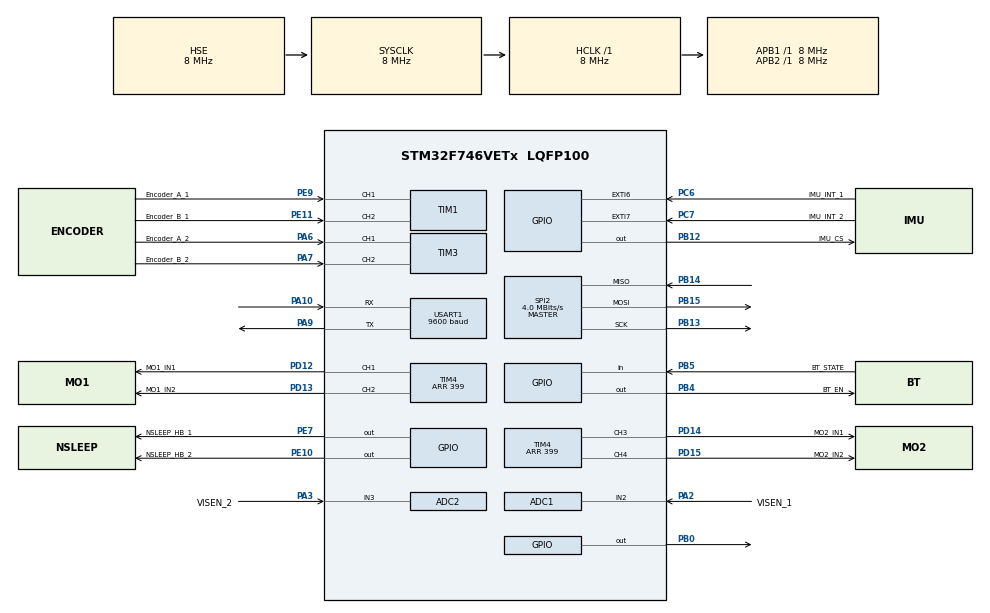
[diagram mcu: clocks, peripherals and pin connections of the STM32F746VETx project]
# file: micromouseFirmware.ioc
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ADC1.Channel-1\#ChannelRegularConversion=ADC_CHANNEL_2
ADC1.NbrOfConversionFlag=1
ADC1.Rank-1\#ChannelRegularConversion=1
ADC1.SamplingTime-1\#ChannelRegularConversion=ADC_SAMPLETIME_3CYCLES
ADC1.master=1
ADC2.Channel-0\#ChannelRegularConversion=ADC_CHANNEL_3
ADC2.NbrOfConversionFlag=1
ADC2.Rank-0\#ChannelRegularConversion=1
ADC2.SamplingTime-0\#ChannelRegularConversion=ADC_SAMPLETIME_3CYCLES
CORTEX_M7.default_mode_Activation=1
Mcu.Family=STM32F7
Mcu.Name=STM32F746VETx
Mcu.Package=LQFP100
NVIC.PriorityGroup=NVIC_PRIORITYGROUP_4
PA10.Mode=Asynchronous
PA10.Signal=USART1_RX
PA13.Mode=Serial_Wire
PA13.Signal=SYS_JTMS-SWDIO
PA14.Mode=Serial_Wire
PA14.Signal=SYS_JTCK-SWCLK
PA2.GPIO_Label=VISEN_1
PA2.Signal=ADCx_IN2
PA3.GPIO_Label=VISEN_2
PA3.Signal=ADCx_IN3
PA6.GPIO_Label=Encoder_A_2
PA6.Signal=S_TIM3_CH1
PA7.GPIO_Label=Encoder_B_2
PA7.Signal=S_TIM3_CH2
PA9.Mode=Asynchronous
PA9.Signal=USART1_TX
PB0.Signal=GPIO_Output
PB12.GPIO_Label=IMU_CS
PB12.GPIO_Speed=GPIO_SPEED_FREQ_VERY_HIGH
PB12.PinState=GPIO_PIN_SET
PB12.Signal=GPIO_Output
PB13.Mode=Full_Duplex_Master
PB13.Signal=SPI2_SCK
PB14.Mode=Full_Duplex_Master
PB14.Signal=SPI2_MISO
PB15.Mode=Full_Duplex_Master
PB15.Signal=SPI2_MOSI
PB4.GPIO_Label=BT_EN
PB4.PinState=GPIO_PIN_SET
PB4.Signal=GPIO_Output
PB5.GPIO_Label=BT_STATE
PB5.Signal=GPIO_Input
PC14/OSC32_IN.Mode=LSE-External-Oscillator
PC14/OSC32_IN.Signal=RCC_OSC32_IN
PC15/OSC32_OUT.Mode=LSE-External-Oscillator
PC15/OSC32_OUT.Signal=RCC_OSC32_OUT
PC6.GPIO_Label=IMU_INT_1
PC6.Signal=GPXTI6
PC7.GPIO_Label=IMU_INT_2
PC7.Signal=GPXTI7
PD12.GPIO_Label=MO1_IN1
PD12.Signal=S_TIM4_CH1
PD13.GPIO_Label=MO1_IN2
PD13.Signal=S_TIM4_CH2
PD14.GPIO_Label=MO2_IN1
PD14.Signal=S_TIM4_CH3
PD15.GPIO_Label=MO2_IN2
PD15.Signal=S_TIM4_CH4
PE10.GPIO_Label=NSLEEP_HB_2
PE10.Signal=GPIO_Output
PE11.GPIO_Label=Encoder_B_1
PE11.Signal=S_TIM1_CH2
PE7.GPIO_Label=NSLEEP_HB_1
PE7.Signal=GPIO_Output
PE9.GPIO_Label=Encoder_A_1
PE9.Signal=S_TIM1_CH1
PH0/OSC_IN.Mode=HSE-External-Oscillator
PH0/OSC_IN.Signal=RCC_OSC_IN
PH1/OSC_OUT.Mode=HSE-External-Oscillator
PH1/OSC_OUT.Signal=RCC_OSC_OUT
ProjectManager.HeapSize=0x200
ProjectManager.StackSize=0x400
ProjectManager.TargetToolchain=STM32CubeIDE
RCC.AHBFreq_Value=8000000
RCC.APB1Freq_Value=8000000
RCC.APB1TimFreq_Value=8000000
RCC.APB2Freq_Value=8000000
RCC.APB2TimFreq_Value=8000000
RCC.CSICalibrationValue=32
RCC.CortexFreq_Value=8000000
RCC.DATA_CACHE_ENABLE=1
RCC.HCLKFreq_Value=8000000
RCC.HSE_VALUE=8000000
RCC.HSI_VALUE=16000000
RCC.INSTRUCTION_CACHE_ENABLE=1
RCC.LSE_Drive_CapabilityArg=RCC_LSEDRIVE_LOW
RCC.MSIAutoCalibration=ENABLED
RCC.MSICalibrationValue=0
RCC.PLL1_VCI_Range=RCC_PLL1VCIRANGE_3
RCC.PLL1_VCO_SEL=RCC_PLL1VCOWIDE
RCC.PLL2FRACN=0
RCC.PLL2_VCI_Range=RCC_PLL2VCIRANGE_3
RCC.PLL2_VCO_SEL=RCC_PLL2VCOWIDE
RCC.PLL3FRACN=0
RCC.PLL3_VCI_Range=RCC_PLL3VCIRANGE_3
RCC.PLL3_VCO_SEL=RCC_PLL3VCOWIDE
RCC.PLLFRACN=0
RCC.PLLSourceVirtual=RCC_PLLSOURCE_HSE
RCC.PREFETCH_ENABLE=0
RCC.ProductRev=revV
RCC.SYSCLKFreq_VALUE=8000000
RCC.SYSCLKSource=RCC_SYSCLKSOURCE_HSE
RCC.USBFreq_Value=48000000
RCC.VCOOutputFreq_Value=96000000
SH.ADCx_IN2.0=ADC1_IN2,IN2
SH.ADCx_IN3.0=ADC2_IN3,IN3
SH.S_TIM1_CH1.0=TIM1_CH1,Encoder_Interface
SH.S_TIM1_CH2.0=TIM1_CH2,Encoder_Interface
SH.S_TIM3_CH1.0=TIM3_CH1,Encoder_Interface
SH.S_TIM3_CH2.0=TIM3_CH2,Encoder_Interface
SH.S_TIM4_CH1.0=TIM4_CH1,PWM Generation1 CH1
SH.S_TIM4_CH2.0=TIM4_CH2,PWM Generation2 CH2
SH.S_TIM4_CH3.0=TIM4_CH3,PWM Generation3 CH3
SH.S_TIM4_CH4.0=TIM4_CH4,PWM Generation4 CH4
SPI2.CLKPhase=SPI_PHASE_2EDGE
SPI2.CLKPolarity=SPI_POLARITY_HIGH
SPI2.CalculateBaudRate=4.0 MBits/s
SPI2.DataSize=SPI_DATASIZE_8BIT
SPI2.Direction=SPI_DIRECTION_2LINES
SPI2.Mode=SPI_MODE_MASTER
SPI2.VirtualType=VM_MASTER
TIM1.EncoderMode=TIM_ENCODERMODE_TI12
TIM1.IC1Filter=8
TIM1.IC2Filter=8
TIM3.EncoderMode=TIM_ENCODERMODE_TI12
TIM3.IC1Filter=8
TIM3.IC2Filter=8
TIM4.AutoReloadPreload=TIM_AUTORELOAD_PRELOAD_ENABLE
TIM4.Channel-PWM\ Generation1\ CH1=TIM_CHANNEL_1
TIM4.Channel-PWM\ Generation2\ CH2=TIM_CHANNEL_2
TIM4.Channel-PWM\ Generation3\ CH3=TIM_CHANNEL_3
TIM4.Channel-PWM\ Generation4\ CH4=TIM_CHANNEL_4
TIM4.Period=399
USART1.BaudRate=9600
USART1.VirtualMode-Asynchronous=VM_ASYNC
VP_TIM4_VS_ClockSourceINT.Mode=Internal
board=custom

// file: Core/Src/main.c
/* USER CODE BEGIN Header */
/**
  ******************************************************************************
  * @file           : main.c
  * @brief          : Main program body
  ******************************************************************************
  * @attention
  *
  * Copyright (c) 2026 STMicroelectronics.
  * All rights reserved.
  *
  * This software is licensed under terms that can be found in the LICENSE file
  * in the root directory of this software component.
  * If no LICENSE file comes with this software, it is provided AS-IS.
  *
  ******************************************************************************
  */
/* USER CODE END Header */
#include "main.h"

/* USER CODE BEGIN Includes */
#include <stdio.h>
#include <stdlib.h>
#include <string.h>
#include <math.h>
#include <stdbool.h>
#include "ir.h"
#include "motor.h"
#include "imu.h"
#include "pid.h"
#include "kalman.h"
/* USER CODE END Includes */

/* USER CODE BEGIN PD */
/* Motor pins, PWM, encoders and their directions now live in motor.h. */
#define MOTOR_MAX_DUTY_INT          71U   /* same limit as MOTOR_MAX_DUTY_PERCENT */
#define MOTOR_MAX_DUTY_TENTHS      710U
#define MOTOR_MAX_RUN_MS         10000U
#define TELEMETRY_DEFAULT_MS       250U
#define SENSOR_MISSING          (-32768)

#define FLAG_IMU           (1U << 0)
#define FLAG_MAG           (1U << 1)
#define FLAG_IR            (1U << 2)
#define FLAG_TOF_1         (1U << 3)
#define FLAG_TOF_2         (1U << 4)
#define FLAG_TOF_3         (1U << 5)
#define FLAG_BT_CONNECTED  (1U << 6)
#define FLAG_MOTORS_ACTIVE (1U << 7)

#define LIS2MDL_ADDR       0x1EU
#define VL53_DEFAULT_ADDR  0x29U

/* ---- Control loop (motor + imu + kalman + pid) ---------------------------- */
#define CONTROL_LOOP_HZ          1000U    /* 1 ms control step                 */
#define CONTROL_DT_MAX_S         0.05f    /* cap dt after a slow sensor read   */

/* Stall protection reads the motor current (VISEN) on ADC1/ADC2. Keep it OFF
 * until the VREF+ bridge (U1 pin 20 -> 21) is soldered: before that the ADC
 * readings are garbage and could stop the motors for no reason. */
#define MOTOR_STALL_PROTECTION   0

/* Starting gains: GUESSES. Tune them over Bluetooth with the GAINS command. */
#define FWD_KP        0.020f    /* % duty per (mm/s) of speed error          */
#define FWD_KI        0.200f    /* % duty per (mm/s * s)                      */
#define FWD_KD        0.000f
#define FWD_KF        0.070f    /* % duty per mm/s asked for (feedforward)   */
#define FWD_I_MAX     30.0f     /* anti-windup limit, % duty                  */
#define ROT_KP        0.800f    /* % duty difference per degree of error     */
#define ROT_KI        0.000f
#define ROT_KD        0.030f    /* % duty per deg/s (damping)                */
#define ROT_FF        0.050f    /* % duty per deg/s asked for (feedforward)  */
#define ROT_OUT_MAX   40.0f     /* max % duty difference between wheels      */
#define ROT_I_MAX     20.0f

#define TURN_RATE_DEGS        180.0f  /* how fast TURN rotates the target     */
#define TURN_DONE_DEG         2.0f    /* "arrived" when within this many deg  */
#define TURN_DONE_RATE_DEGS   10.0f   /* ...and turning slower than this      */
#define TURN_SETTLE_MS        50U     /* ...for this long                     */
#define TURN_DEFAULT_MS       3000U   /* safety timeout for TURN              */
#define SPEED_LIMIT_MMS       1000
#define RATE_LIMIT_DEGS       720
/* USER CODE END PD */

ADC_HandleTypeDef hadc1;
ADC_HandleTypeDef hadc2;

SPI_HandleTypeDef hspi2;

TIM_HandleTypeDef htim1;
TIM_HandleTypeDef htim3;
TIM_HandleTypeDef htim4;

UART_HandleTypeDef huart1;

/* USER CODE BEGIN PV */
static I2C_HandleTypeDef hi2c1;
static ADC_HandleTypeDef hadc3;
static int32_t imu_values[6] = {0};
static int32_t mag_values[3] = {0};
static uint16_t ir_values[4] = {0};
static uint16_t tof_values[3] = {0};
static uint8_t sensor_flags = 0U;
static volatile int16_t commanded_left_tenths = 0;
static volatile int16_t commanded_right_tenths = 0;
static volatile uint32_t motor_stop_tick = 0U;
static volatile uint32_t emergency_stop_generation = 0U;
static volatile uint8_t motor_timeout_event_pending = 0U;
static volatile uint8_t emergency_stop_ack_pending = 0U;
static uint32_t telemetry_period_ms = TELEMETRY_DEFAULT_MS;
static uint8_t uart_rx_byte = 0U;
static volatile uint8_t uart_rx_head = 0U;
static volatile uint8_t uart_rx_tail = 0U;
static uint8_t uart_rx_ring[128] = {0};
static uint8_t uart_stop_candidate = 1U;
static uint8_t uart_stop_index = 0U;
static volatile uint32_t uart_stop_flush_generation = 0U;
static uint8_t uart_tx_byte = 0U;
static volatile uint16_t uart_tx_head = 0U;
static volatile uint16_t uart_tx_tail = 0U;
static volatile uint8_t uart_tx_busy = 0U;
static uint8_t uart_tx_ring[512] = {0};

/* Motion control state */
enum { CTRL_OFF = 0U, CTRL_OPEN_LOOP, CTRL_VELOCITY, CTRL_TURN };
static volatile uint8_t control_mode = CTRL_OFF;
static volatile uint8_t motors_enabled = 0U;
static volatile uint8_t turn_done_event_pending = 0U;
#if MOTOR_STALL_PROTECTION
static volatile uint8_t stall_event_pending = 0U;
#endif
static PID_Controller_t pid_forward;
static PID_Controller_t pid_rotation;
static YawKalman_t yaw_kf;
static float rot_feedforward = ROT_FF;
static float target_speed_mms = 0.0f;
static float target_rate_degs = 0.0f;
static float target_heading_deg = 0.0f;
static float turn_final_deg = 0.0f;
static uint32_t turn_settle_ms = 0U;
static uint32_t control_last_cycles = 0U;
/* USER CODE END PV */

void SystemClock_Config(void);
static void MPU_Config(void);
static void MX_GPIO_Init(void);
static void MX_ADC1_Init(void);
static void MX_TIM1_Init(void);
static void MX_TIM3_Init(void);
static void MX_TIM4_Init(void);
static void MX_ADC2_Init(void);
static void MX_SPI2_Init(void);
static void MX_USART1_UART_Init(void);
/* USER CODE BEGIN PFP */
static void Motors_Stop(void);
static uint8_t Motors_SetSignedTenths(int32_t left_tenths, int32_t right_tenths,
                                      uint32_t command_generation);
static void Control_Init(void);
static void Control_Tick(void);
static void SensorHardware_Init(void);
static void Sensors_Update(void);
static void Protocol_HandleLine(char *line, uint32_t command_generation);
static void Protocol_SendTelemetry(void);
static uint8_t UART_PopByte(uint8_t *value);
/* USER CODE END PFP */

/* USER CODE BEGIN 0 */
/* ---------------------------------------------------------------------------
 * Motor power on/off. Motors_Stop() is also called from interrupts (SysTick
 * timeout and the UART "STOP" detector), so it only touches registers/pins.
 * ------------------------------------------------------------------------- */
static void Motors_Stop(void)
{
  Motor_SleepAll();                       /* brake both, then nSLEEP low */
  HAL_GPIO_WritePin(GPIOB, GPIO_PIN_0, GPIO_PIN_RESET);
  control_mode = CTRL_OFF;
  motors_enabled = 0U;
  commanded_left_tenths = 0;
  commanded_right_tenths = 0;
  motor_stop_tick = 0U;
}

static int32_t ClampMotorPercent(int32_t percent)
{
  if (percent > (int32_t)MOTOR_MAX_DUTY_INT) return MOTOR_MAX_DUTY_INT;
  if (percent < -(int32_t)MOTOR_MAX_DUTY_INT) return -(int32_t)MOTOR_MAX_DUTY_INT;
  return percent;
}

static int32_t ClampMotorTenths(int32_t percent_tenths)
{
  if (percent_tenths > (int32_t)MOTOR_MAX_DUTY_TENTHS) return MOTOR_MAX_DUTY_TENTHS;
  if (percent_tenths < -(int32_t)MOTOR_MAX_DUTY_TENTHS) return -(int32_t)MOTOR_MAX_DUTY_TENTHS;
  return percent_tenths;
}

static float ClampFloat(float value, float limit)
{
  if (value > limit) return limit;
  if (value < -limit) return -limit;
  return value;
}

/* Wake both H-bridges and switch to <mode>, unless a STOP arrived after the
 * command was received (stale generation). Returns 1 if the motors are live.
 * On success interrupts are left DISABLED so the caller can set the first
 * duty atomically; the caller must call Motors_EndStart() afterwards. */
static uint8_t Motors_BeginStart(uint32_t command_generation, uint8_t mode,
                                 uint32_t *interrupt_state)
{
  if (emergency_stop_generation != command_generation) return 0U;

  Motors_Stop();
  Motor_WakeAll();
  HAL_Delay(2);                           /* MP6550 wake-up time */

  *interrupt_state = __get_PRIMASK();
  __disable_irq();
  if (emergency_stop_generation != command_generation)
  {
    if (*interrupt_state == 0U) __enable_irq();
    Motors_Stop();
    return 0U;
  }
  control_mode = mode;
  motors_enabled = 1U;
  return 1U;
}

static void Motors_EndStart(uint32_t interrupt_state)
{
  if (interrupt_state == 0U) __enable_irq();
}

/* Open-loop drive (the old "M" / "M10" commands): fixed duty per wheel. */
static uint8_t Motors_SetSignedTenths(int32_t left_tenths, int32_t right_tenths,
                                      uint32_t command_generation)
{
  uint32_t interrupt_state = 0U;
  left_tenths = ClampMotorTenths(left_tenths);
  right_tenths = ClampMotorTenths(right_tenths);

  if (left_tenths == 0 && right_tenths == 0)
  {
    if (emergency_stop_generation != command_generation) return 0U;
    Motors_Stop();
    return 1U;
  }

  if (Motors_BeginStart(command_generation, CTRL_OPEN_LOOP, &interrupt_state) == 0U) return 0U;
  /* motor.c applies the mirror-image inversion of motor 2 itself. */
  Motor_SetDuty(MOTOR_LEFT, (float)left_tenths / 10.0f);
  Motor_SetDuty(MOTOR_RIGHT, (float)right_tenths / 10.0f);
  commanded_left_tenths = (int16_t)left_tenths;
  commanded_right_tenths = (int16_t)right_tenths;
  Motors_EndStart(interrupt_state);
  return 1U;
}

/* Closed-loop drive: forward speed (mm/s) + turn rate (deg/s, + = left/CCW). */
static uint8_t Motion_StartVelocity(float speed_mms, float rate_degs,
                                    uint32_t command_generation)
{
  uint32_t interrupt_state = 0U;
  PID_Reset(&pid_forward);
  PID_Reset(&pid_rotation);
  target_speed_mms = speed_mms;
  target_rate_degs = rate_degs;
  target_heading_deg = Kalman_GetHeading_deg(&yaw_kf);
  if (Motors_BeginStart(command_generation, CTRL_VELOCITY, &interrupt_state) == 0U) return 0U;
  Motors_EndStart(interrupt_state);
  return 1U;
}

/* Turn on the spot by <angle_deg> (+ = left/CCW) using the fused heading. */
static uint8_t Motion_StartTurn(float angle_deg, uint32_t command_generation)
{
  uint32_t interrupt_state = 0U;
  PID_Reset(&pid_forward);
  PID_Reset(&pid_rotation);
  target_speed_mms = 0.0f;
  target_rate_degs = 0.0f;
  target_heading_deg = Kalman_GetHeading_deg(&yaw_kf);
  turn_final_deg = target_heading_deg + angle_deg;
  turn_settle_ms = 0U;
  if (Motors_BeginStart(command_generation, CTRL_TURN, &interrupt_state) == 0U) return 0U;
  Motors_EndStart(interrupt_state);
  return 1U;
}

/* ---------------------------------------------------------------------------
 * 1 kHz control step: odometry -> IMU -> Kalman heading -> PID -> motors.
 * Called on every pass of the main loop; it runs only when >= 1 ms passed.
 * ------------------------------------------------------------------------- */
static void Control_Init(void)
{
  /* Cycle counter for an exact dt (ir.c also enables it; harmless twice). */
  CoreDebug->DEMCR |= CoreDebug_DEMCR_TRCENA_Msk;
  DWT->LAR = 0xC5ACCE55U;
  DWT->CTRL |= DWT_CTRL_CYCCNTENA_Msk;
  control_last_cycles = DWT->CYCCNT;

  /* Forward speed loop: output = % duty (both wheels). Kf = % duty per mm/s. */
  PID_Init(&pid_forward, FWD_KP, FWD_KI, FWD_KD, FWD_KF,
           -MOTOR_MAX_DUTY_PERCENT, MOTOR_MAX_DUTY_PERCENT, FWD_I_MAX);
  /* Heading loop: output = % duty difference between the wheels. */
  PID_Init(&pid_rotation, ROT_KP, ROT_KI, ROT_KD, 0.0f,
           -ROT_OUT_MAX, ROT_OUT_MAX, ROT_I_MAX);
}

static void Control_Tick(void)
{
  uint32_t now = DWT->CYCCNT;
  uint32_t elapsed = now - control_last_cycles;
  uint32_t period = SystemCoreClock / CONTROL_LOOP_HZ;
  if (elapsed < period) return;
  control_last_cycles = now;

  float dt = (float)elapsed / (float)SystemCoreClock;
  if (dt > CONTROL_DT_MAX_S) dt = CONTROL_DT_MAX_S;  /* after a slow sensor read */

  /* 1. Sensors */
  Motor_UpdateOdometry(dt);
  IMU_Update(dt);
  float enc_rate = Motor_GetAngularVelocity_degs();
  float gyro_rate = IMU_IsPresent() ? IMU_GetData()->gyro_z_raw_degs : enc_rate;
  const Motor_State_t *left = Motor_GetState(MOTOR_LEFT);
  const Motor_State_t *right = Motor_GetState(MOTOR_RIGHT);
  bool stationary = (motors_enabled == 0U) &&
                    fabsf(left->velocity_mms) < 1.0f &&
                    fabsf(right->velocity_mms) < 1.0f;

  /* 2. Heading estimate: gyro + encoders (Kalman also learns the gyro bias). */
  Kalman_Update(&yaw_kf, gyro_rate, enc_rate, stationary, dt);

#if MOTOR_STALL_PROTECTION
  if (motors_enabled != 0U && Motor_CheckStall())
  {
    emergency_stop_generation++;
    Motors_Stop();
    stall_event_pending = 1U;
    return;
  }
#endif

  /* 3. Closed-loop motion */
  uint8_t mode = control_mode;
  if (mode != CTRL_VELOCITY && mode != CTRL_TURN) return;

  float heading = Kalman_GetHeading_deg(&yaw_kf);
  if (mode == CTRL_TURN)
  {
    /* Move the target heading towards the final angle at TURN_RATE_DEGS,
     * so the mouse turns smoothly instead of jumping. */
    float remaining = turn_final_deg - target_heading_deg;
    float step = TURN_RATE_DEGS * dt;
    if (fabsf(remaining) <= step)
    {
      target_heading_deg = turn_final_deg;
      target_rate_degs = 0.0f;
    }
    else
    {
      target_rate_degs = (remaining > 0.0f) ? TURN_RATE_DEGS : -TURN_RATE_DEGS;
      target_heading_deg += target_rate_degs * dt;
    }

    if (target_rate_degs == 0.0f &&
        fabsf(turn_final_deg - heading) < TURN_DONE_DEG &&
        fabsf(Kalman_GetAngularVelocity_degs(&yaw_kf)) < TURN_DONE_RATE_DEGS)
    {
      turn_settle_ms += (uint32_t)(dt * 1000.0f + 0.5f);
      if (turn_settle_ms >= TURN_SETTLE_MS)
      {
        Motors_Stop();
        turn_done_event_pending = 1U;
        return;
      }
    }
    else
    {
      turn_settle_ms = 0U;
    }
  }
  else
  {
    target_heading_deg += target_rate_degs * dt;
  }

  float forward = PID_Compute(&pid_forward, target_speed_mms,
                              Motor_GetLinearVelocity_mms(), dt);
  float turn = PID_Compute(&pid_rotation, target_heading_deg, heading, dt) +
               rot_feedforward * target_rate_degs;

  /* Turning left (CCW, +) means the right wheel goes faster. */
  float left_duty = ClampFloat(forward - turn, MOTOR_MAX_DUTY_PERCENT);
  float right_duty = ClampFloat(forward + turn, MOTOR_MAX_DUTY_PERCENT);

  /* Apply only if no STOP/timeout happened since this step started. */
  uint32_t interrupt_state = __get_PRIMASK();
  __disable_irq();
  if (control_mode == mode && motors_enabled != 0U)
  {
    Motor_SetDuty(MOTOR_LEFT, left_duty);
    Motor_SetDuty(MOTOR_RIGHT, right_duty);
    commanded_left_tenths = (int16_t)(left_duty * 10.0f);
    commanded_right_tenths = (int16_t)(right_duty * 10.0f);
  }
  if (interrupt_state == 0U) __enable_irq();
}

/* Format a float with one decimal without needing printf float support. */
static void FormatTenths(char *out, size_t size, float value)
{
  long tenths = lroundf(value * 10.0f);
  const char *sign = (tenths < 0) ? "-" : "";
  if (tenths < 0) tenths = -tenths;
  snprintf(out, size, "%s%ld.%ld", sign, tenths / 10L, tenths % 10L);
}

static long ToMilli(float value)
{
  return lroundf(value * 1000.0f);
}

static HAL_StatusTypeDef I2C_Write8(uint8_t address, uint16_t reg, uint8_t value)
{
  return HAL_I2C_Mem_Write(&hi2c1, (uint16_t)(address << 1), reg,
                           I2C_MEMADD_SIZE_16BIT, &value, 1U, 20U);
}

static HAL_StatusTypeDef I2C_Read(uint8_t address, uint16_t reg, uint8_t *data, uint16_t length)
{
  return HAL_I2C_Mem_Read(&hi2c1, (uint16_t)(address << 1), reg,
                          I2C_MEMADD_SIZE_16BIT, data, length, 20U);
}

static const uint8_t vl53_default_configuration[] = {
  /* 0x2E/0x2F are 1 because this PCB pulls I2C/GPIO up to AVDD (3.3 V). */
  0x00,0x01,0x01,0x01,0x02,0x00,0x02,0x08,0x00,0x08,0x10,0x01,0x01,0x00,0x00,0x00,
  0x00,0xff,0x00,0x0f,0x00,0x00,0x00,0x00,0x00,0x20,0x0b,0x00,0x00,0x02,0x0a,0x21,
  0x00,0x00,0x05,0x00,0x00,0x00,0x00,0xc8,0x00,0x00,0x38,0xff,0x01,0x00,0x08,0x00,
  0x00,0x01,0xcc,0x0f,0x01,0xf1,0x0d,0x01,0x68,0x00,0x80,0x08,0xb8,0x00,0x00,0x00,
  0x00,0x0f,0x89,0x00,0x00,0x00,0x00,0x00,0x00,0x00,0x01,0x0f,0x0d,0x0e,0x0e,0x00,
  0x00,0x02,0xc7,0xff,0x9b,0x00,0x00,0x00,0x01,0x00,0x00
};

static uint8_t VL53_InitOne(GPIO_TypeDef *port, uint16_t pin, uint8_t address)
{
  uint8_t boot = 0U;
  HAL_GPIO_WritePin(port, pin, GPIO_PIN_SET);
  HAL_Delay(5);
  for (uint32_t start = HAL_GetTick(); HAL_GetTick() - start < 100U; )
  {
    if (I2C_Read(VL53_DEFAULT_ADDR, 0x00E5U, &boot, 1U) == HAL_OK && boot != 0U) break;
  }
  if (boot == 0U || I2C_Write8(VL53_DEFAULT_ADDR, 0x0001U, address) != HAL_OK) return 0U;
  for (uint16_t i = 0U; i < sizeof(vl53_default_configuration); i++)
  {
    if (I2C_Write8(address, (uint16_t)(0x002DU + i), vl53_default_configuration[i]) != HAL_OK) return 0U;
  }
  return (I2C_Write8(address, 0x0087U, 0x40U) == HAL_OK) ? 1U : 0U;
}

static void SensorHardware_Init(void)
{
  GPIO_InitTypeDef gpio = {0};
  ADC_ChannelConfTypeDef adc_channel = {0};

  __HAL_RCC_GPIOB_CLK_ENABLE();
  __HAL_RCC_GPIOC_CLK_ENABLE();
  __HAL_RCC_GPIOE_CLK_ENABLE();
  __HAL_RCC_I2C1_CLK_ENABLE();
  __HAL_RCC_ADC3_CLK_ENABLE();

  gpio.Pin = GPIO_PIN_8 | GPIO_PIN_9;
  gpio.Mode = GPIO_MODE_AF_OD;
  gpio.Pull = GPIO_PULLUP;
  gpio.Speed = GPIO_SPEED_FREQ_VERY_HIGH;
  gpio.Alternate = GPIO_AF4_I2C1;
  HAL_GPIO_Init(GPIOB, &gpio);

  hi2c1.Instance = I2C1;
  /* 100 kHz with the present 8 MHz I2C1 kernel clock. */
  hi2c1.Init.Timing = 0x30300909U;
  hi2c1.Init.OwnAddress1 = 0U;
  hi2c1.Init.AddressingMode = I2C_ADDRESSINGMODE_7BIT;
  hi2c1.Init.DualAddressMode = I2C_DUALADDRESS_DISABLE;
  hi2c1.Init.OwnAddress2 = 0U;
  hi2c1.Init.GeneralCallMode = I2C_GENERALCALL_DISABLE;
  hi2c1.Init.NoStretchMode = I2C_NOSTRETCH_DISABLE;
  if (HAL_I2C_Init(&hi2c1) != HAL_OK) Error_Handler();

  gpio.Pin = GPIO_PIN_0 | GPIO_PIN_1 | GPIO_PIN_2 | GPIO_PIN_3;
  gpio.Mode = GPIO_MODE_ANALOG;
  gpio.Pull = GPIO_NOPULL;
  HAL_GPIO_Init(GPIOC, &gpio);

  hadc3.Instance = ADC3;
  hadc3.Init.ClockPrescaler = ADC_CLOCK_SYNC_PCLK_DIV2;
  hadc3.Init.Resolution = ADC_RESOLUTION_12B;
  hadc3.Init.ScanConvMode = ADC_SCAN_DISABLE;
  hadc3.Init.ContinuousConvMode = DISABLE;
  hadc3.Init.DiscontinuousConvMode = DISABLE;
  hadc3.Init.ExternalTrigConvEdge = ADC_EXTERNALTRIGCONVEDGE_NONE;
  hadc3.Init.ExternalTrigConv = ADC_SOFTWARE_START;
  hadc3.Init.DataAlign = ADC_DATAALIGN_RIGHT;
  hadc3.Init.NbrOfConversion = 1;
  hadc3.Init.DMAContinuousRequests = DISABLE;
  hadc3.Init.EOCSelection = ADC_EOC_SINGLE_CONV;
  if (HAL_ADC_Init(&hadc3) != HAL_OK) Error_Handler();
  adc_channel.Channel = ADC_CHANNEL_10;
  adc_channel.Rank = ADC_REGULAR_RANK_1;
  adc_channel.SamplingTime = ADC_SAMPLETIME_56CYCLES;
  HAL_ADC_ConfigChannel(&hadc3, &adc_channel);

  gpio.Pin = GPIO_PIN_2 | GPIO_PIN_3 | GPIO_PIN_4 | GPIO_PIN_5 |
             GPIO_PIN_13 | GPIO_PIN_14 | GPIO_PIN_15;
  gpio.Mode = GPIO_MODE_OUTPUT_PP;
  gpio.Pull = GPIO_NOPULL;
  gpio.Speed = GPIO_SPEED_FREQ_LOW;
  HAL_GPIO_Init(GPIOE, &gpio);
  HAL_GPIO_WritePin(GPIOE, gpio.Pin, GPIO_PIN_RESET);

  /* IR wall sensors: emitters PE2..PE5, receivers PC0..PC3 on ADC3 (ir.c). */
  IR_Init(&hadc3);

  /* LSM6DSO IMU on SPI2 (imu.c): 1.66 kHz, +/-2000 dps, +/-8 g. */
  if (IMU_Init()) sensor_flags |= FLAG_IMU;

  /* LIS2MDL breakout: absence is valid and is reported as not detected. */
  uint8_t who = 0U;
  if (HAL_I2C_Mem_Read(&hi2c1, LIS2MDL_ADDR << 1, 0x4FU, I2C_MEMADD_SIZE_8BIT, &who, 1U, 20U) == HAL_OK && who == 0x40U)
  {
    uint8_t config = 0x00U;
    HAL_I2C_Mem_Write(&hi2c1, LIS2MDL_ADDR << 1, 0x60U, I2C_MEMADD_SIZE_8BIT, &config, 1U, 20U);
    sensor_flags |= FLAG_MAG;
  }

  if (VL53_InitOne(GPIOE, GPIO_PIN_13, 0x2AU)) sensor_flags |= FLAG_TOF_1;
  if (VL53_InitOne(GPIOE, GPIO_PIN_14, 0x2BU)) sensor_flags |= FLAG_TOF_2;
  if (VL53_InitOne(GPIOE, GPIO_PIN_15, 0x2CU)) sensor_flags |= FLAG_TOF_3;
  sensor_flags |= FLAG_IR;
}

static void Sensors_Update(void)
{
  if ((sensor_flags & FLAG_IMU) != 0U)
  {
    /* The control loop reads the IMU every 1 ms; just copy the latest sample. */
    const IMU_Data_t *imu = IMU_GetData();
    for (uint8_t i = 0U; i < 3U; i++)
    {
      imu_values[i + 3U] = (int32_t)imu->gyro_raw[i] * 70L;            /* mdps */
      imu_values[i] = ((int32_t)imu->accel_raw[i] * 244L) / 1000L;    /* mg */
    }
  }

  if ((sensor_flags & FLAG_MAG) != 0U)
  {
    uint8_t raw[6] = {0};
    if (HAL_I2C_Mem_Read(&hi2c1, LIS2MDL_ADDR << 1, 0x68U, I2C_MEMADD_SIZE_8BIT, raw, 6U, 20U) == HAL_OK)
    {
      for (uint8_t i = 0U; i < 3U; i++)
      {
        int16_t value = (int16_t)(((uint16_t)raw[i * 2U + 1U] << 8) | raw[i * 2U]);
        mag_values[i] = ((int32_t)value * 3L) / 2L;
      }
    }
  }

  /* IR: pulsed, ambient-cancelled reading of all four sensors (ir.c).
   * Telemetry keeps sending the raw signal (lit - ambient) as before. */
  IR_Update();
  for (uint8_t i = 0U; i < IR_COUNT; i++)
  {
    ir_values[i] = IR_GetSignal(i);
  }

  const uint8_t addresses[3] = {0x2AU, 0x2BU, 0x2CU};
  const uint8_t flags[3] = {FLAG_TOF_1, FLAG_TOF_2, FLAG_TOF_3};
  for (uint8_t i = 0U; i < 3U; i++)
  {
    if ((sensor_flags & flags[i]) == 0U) continue;
    uint8_t ready = 0U, range[2] = {0};
    if (I2C_Read(addresses[i], 0x0031U, &ready, 1U) == HAL_OK && (ready & 1U) != 0U &&
        I2C_Read(addresses[i], 0x0096U, range, 2U) == HAL_OK)
    {
      tof_values[i] = (uint16_t)(((uint16_t)range[0] << 8) | range[1]);
      I2C_Write8(addresses[i], 0x0086U, 0x01U);
    }
  }
}

static void Protocol_Send(const char *text)
{
  uint8_t start_tx = 0U;
  size_t length = strlen(text);
  if (length > 511U) return;
  uint32_t interrupt_state = __get_PRIMASK();
  __disable_irq();
  uint16_t used = (uint16_t)((uart_tx_head - uart_tx_tail) & 0x01FFU);
  uint16_t free_bytes = (uint16_t)(511U - used);
  if (length <= free_bytes)
  {
    while (*text != '\0')
    {
      uart_tx_ring[uart_tx_head] = (uint8_t)*text++;
      uart_tx_head = (uint16_t)((uart_tx_head + 1U) & 0x01FFU);
    }
  }
  if (uart_tx_busy == 0U && uart_tx_tail != uart_tx_head)
  {
    uart_tx_busy = 1U;
    uart_tx_byte = uart_tx_ring[uart_tx_tail];
    uart_tx_tail = (uint16_t)((uart_tx_tail + 1U) & 0x01FFU);
    start_tx = 1U;
  }
  if (interrupt_state == 0U) __enable_irq();

  if (start_tx != 0U && HAL_UART_Transmit_IT(&huart1, &uart_tx_byte, 1U) != HAL_OK)
  {
    uart_tx_busy = 0U;
  }
}

static uint8_t UART_PopByte(uint8_t *value)
{
  uint8_t available = 0U;
  uint32_t interrupt_state = __get_PRIMASK();
  __disable_irq();
  if (uart_rx_tail != uart_rx_head)
  {
    *value = uart_rx_ring[uart_rx_tail];
    uart_rx_tail = (uint8_t)((uart_rx_tail + 1U) & 0x7FU);
    available = 1U;
  }
  if (interrupt_state == 0U) __enable_irq();
  return available;
}

static void Protocol_HandleLine(char *line, uint32_t command_generation)
{
  int left_tenths = 0, right_tenths = 0;
  int left_percent = 0, right_percent = 0;
  long duration = 0L;
  int motor_fields = sscanf(line, "M10 %d %d %ld",
                            &left_tenths, &right_tenths, &duration);
  if (motor_fields != 3 &&
      sscanf(line, "M %d %d %ld", &left_percent, &right_percent, &duration) == 3)
  {
    left_tenths = ClampMotorPercent(left_percent) * 10;
    right_tenths = ClampMotorPercent(right_percent) * 10;
    motor_fields = 3;
  }

  if (motor_fields == 3)
  {
    if (duration <= 0L)
    {
      Motors_Stop();
    }
    else
    {
      if (duration > (long)MOTOR_MAX_RUN_MS) duration = MOTOR_MAX_RUN_MS;
      if (Motors_SetSignedTenths(left_tenths, right_tenths,
                                 command_generation) != 0U)
      {
        motor_stop_tick = HAL_GetTick() + (uint32_t)duration;
      }
      else
      {
        Protocol_Send("ERR STALE_MOTOR_COMMAND\r\n");
        return;
      }
    }
    Protocol_Send("ACK M\r\n");
  }
  else if (strcmp(line, "STOP") == 0)
  {
    Motors_Stop();
    Protocol_Send("ACK STOP\r\n");
  }
  else if (strcmp(line, "ZERO_ENC") == 0)
  {
    /* Zero the distance AND the heading (handy before a test run). */
    Motor_ResetOdometry();
    Kalman_ResetHeading(&yaw_kf, 0.0f);
    target_heading_deg = 0.0f;
    turn_final_deg = 0.0f;
    Protocol_Send("ACK ZERO_ENC\r\n");
  }
  else if (sscanf(line, "V %d %d %ld", &left_percent, &right_percent, &duration) == 3)
  {
    /* V <speed mm/s> <turn rate deg/s> <ms>: closed-loop drive.
     * V 200 0 2000 = straight at 200 mm/s for 2 s, holding the heading. */
    if (left_percent > SPEED_LIMIT_MMS) left_percent = SPEED_LIMIT_MMS;
    if (left_percent < -SPEED_LIMIT_MMS) left_percent = -SPEED_LIMIT_MMS;
    if (right_percent > RATE_LIMIT_DEGS) right_percent = RATE_LIMIT_DEGS;
    if (right_percent < -RATE_LIMIT_DEGS) right_percent = -RATE_LIMIT_DEGS;
    if (duration <= 0L)
    {
      Motors_Stop();
    }
    else
    {
      if (duration > (long)MOTOR_MAX_RUN_MS) duration = MOTOR_MAX_RUN_MS;
      if (Motion_StartVelocity((float)left_percent, (float)right_percent,
                               command_generation) == 0U)
      {
        Protocol_Send("ERR STALE_MOTOR_COMMAND\r\n");
        return;
      }
      motor_stop_tick = HAL_GetTick() + (uint32_t)duration;
    }
    Protocol_Send("ACK V\r\n");
  }
  else if (sscanf(line, "TURN %d", &left_percent) == 1)
  {
    /* TURN <deg> [timeout ms]: turn on the spot, + = left. EVENT TURN_DONE
     * is sent when it arrives; EVENT MOTOR_TIMEOUT if it never does. */
    if (sscanf(line, "TURN %d %ld", &left_percent, &duration) != 2) duration = TURN_DEFAULT_MS;
    if (left_percent > 720) left_percent = 720;
    if (left_percent < -720) left_percent = -720;
    if (duration <= 0L || duration > (long)MOTOR_MAX_RUN_MS) duration = TURN_DEFAULT_MS;
    if (Motion_StartTurn((float)left_percent, command_generation) == 0U)
    {
      Protocol_Send("ERR STALE_MOTOR_COMMAND\r\n");
      return;
    }
    motor_stop_tick = HAL_GetTick() + (uint32_t)duration;
    Protocol_Send("ACK TURN\r\n");
  }
  else if (strcmp(line, "POSE") == 0)
  {
    /* Heading (deg, + = left), turn rate (deg/s), learnt gyro bias (deg/s),
     * distance (mm), speed (mm/s), and the raw encoder-only heading. */
    char head[16], rate[16], bias[16], dist[16], vel[16], enc[16], pose_text[160];
    FormatTenths(head, sizeof(head), Kalman_GetHeading_deg(&yaw_kf));
    FormatTenths(rate, sizeof(rate), Kalman_GetAngularVelocity_degs(&yaw_kf));
    FormatTenths(bias, sizeof(bias), Kalman_GetGyroBias_degs(&yaw_kf));
    FormatTenths(dist, sizeof(dist), Motor_GetLinearDistance_mm());
    FormatTenths(vel, sizeof(vel), Motor_GetLinearVelocity_mms());
    FormatTenths(enc, sizeof(enc), Motor_GetHeading_deg());
    int n = snprintf(pose_text, sizeof(pose_text),
                     "POSE HEAD %s RATE %s BIAS %s DIST %s VEL %s ENCHEAD %s IMU %u\r\n",
                     head, rate, bias, dist, vel, enc, IMU_IsPresent() ? 1U : 0U);
    if (n > 0 && n < (int)sizeof(pose_text)) Protocol_Send(pose_text);
  }
  else if (strncmp(line, "GAINS", 5) == 0)
  {
    /* GAINS                      -> print gains (all values x1000)
     * GAINS F <kp> <ki> <kd> <kf> -> forward speed loop, x1000
     * GAINS R <kp> <ki> <kd> <ff> -> heading loop, x1000
     * Example: GAINS F 20 200 0 70  means Kp=0.020 Ki=0.200 Kd=0 Kf=0.070 */
    long g[4] = {0};
    char which = 0;
    char gains_text[160];
    if (sscanf(line, "GAINS %c %ld %ld %ld %ld", &which, &g[0], &g[1], &g[2], &g[3]) == 5)
    {
      if (motors_enabled != 0U)
      {
        Protocol_Send("ERR GAINS_WHILE_MOVING\r\n");
        return;
      }
      if (which == 'F' || which == 'f')
      {
        PID_SetGains(&pid_forward, g[0] / 1000.0f, g[1] / 1000.0f, g[2] / 1000.0f, g[3] / 1000.0f);
      }
      else if (which == 'R' || which == 'r')
      {
        PID_SetGains(&pid_rotation, g[0] / 1000.0f, g[1] / 1000.0f, g[2] / 1000.0f, 0.0f);
        rot_feedforward = g[3] / 1000.0f;
      }
      else
      {
        Protocol_Send("ERR GAINS_ARGS (use GAINS F|R kp ki kd ff, x1000)\r\n");
        return;
      }
    }
    else if (strcmp(line, "GAINS") != 0)
    {
      Protocol_Send("ERR GAINS_ARGS (use GAINS F|R kp ki kd ff, x1000)\r\n");
      return;
    }
    int n = snprintf(gains_text, sizeof(gains_text),
                     "GAINS F %ld %ld %ld %ld R %ld %ld %ld %ld\r\n",
                     ToMilli(pid_forward.Kp), ToMilli(pid_forward.Ki),
                     ToMilli(pid_forward.Kd), ToMilli(pid_forward.Kf),
                     ToMilli(pid_rotation.Kp), ToMilli(pid_rotation.Ki),
                     ToMilli(pid_rotation.Kd), ToMilli(rot_feedforward));
    if (n > 0 && n < (int)sizeof(gains_text)) Protocol_Send(gains_text);
  }
  else if (sscanf(line, "TELEM %ld", &duration) == 1)
  {
    if (duration < 200L) duration = 200L;
    if (duration > 2000L) duration = 2000L;
    telemetry_period_ms = (uint32_t)duration;
    Protocol_Send("ACK TELEM\r\n");
  }
  else if (strcmp(line, "IR") == 0)
  {
    /* Fresh IR reading: signal, ambient, distance (mm) and wall bits. */
    char ir_text[200];
    IR_Update();
    int n = snprintf(ir_text, sizeof(ir_text),
      "IR SIG %u %u %u %u AMB %u %u %u %u MM %u %u %u %u WALL %u%u%u%u\r\n",
      IR_GetSignal(0), IR_GetSignal(1), IR_GetSignal(2), IR_GetSignal(3),
      IR_GetAmbient(0), IR_GetAmbient(1), IR_GetAmbient(2), IR_GetAmbient(3),
      IR_GetDistance_mm(0), IR_GetDistance_mm(1),
      IR_GetDistance_mm(2), IR_GetDistance_mm(3),
      IR_IsWall(0), IR_IsWall(1), IR_IsWall(2), IR_IsWall(3));
    if (n > 0 && n < (int)sizeof(ir_text)) Protocol_Send(ir_text);
  }
  else if (sscanf(line, "IRCAL %d %d", &left_percent, &right_percent) == 2)
  {
    /* IRCAL <sensor 1-4> <mm>: wall held at <mm> from that sensor. */
    char ir_text[64];
    if (left_percent < 1 || left_percent > (int)IR_COUNT ||
        right_percent < 10 || right_percent > (int)IR_DISTANCE_MAX_MM)
    {
      Protocol_Send("ERR IRCAL_ARGS (use IRCAL <1-4> <10-300>)\r\n");
    }
    else if (IR_Calibrate((uint8_t)(left_percent - 1), (uint16_t)right_percent) != 0U)
    {
      int n = snprintf(ir_text, sizeof(ir_text), "ACK IRCAL %d K=%lu\r\n", left_percent,
                       (unsigned long)IR_GetCalK((uint8_t)(left_percent - 1)));
      if (n > 0 && n < (int)sizeof(ir_text)) Protocol_Send(ir_text);
    }
    else
    {
      Protocol_Send("ERR IRCAL_SIGNAL (too weak or saturated)\r\n");
    }
  }
  else if (sscanf(line, "IRWALL %d %d", &left_percent, &right_percent) == 2)
  {
    /* IRWALL <sensor 1-4> <mm>: a wall closer than <mm> counts as a wall. */
    char ir_text[48];
    if (left_percent < 1 || left_percent > (int)IR_COUNT ||
        right_percent < 10 || right_percent > (int)IR_DISTANCE_MAX_MM)
    {
      Protocol_Send("ERR IRWALL_ARGS (use IRWALL <1-4> <10-300>)\r\n");
    }
    else
    {
      IR_SetWallThreshold_mm((uint8_t)(left_percent - 1), (uint16_t)right_percent);
      int n = snprintf(ir_text, sizeof(ir_text), "ACK IRWALL %d %d\r\n",
                       left_percent, right_percent);
      if (n > 0 && n < (int)sizeof(ir_text)) Protocol_Send(ir_text);
    }
  }
  else if (sscanf(line, "IRTEST %d", &left_percent) == 1)
  {
    /* IRTEST <1-4>: hold that IR LED on for 2 s. Point a phone camera at it:
     * a working emitter shows as a purple/white glow on the screen. */
    if (left_percent < 1 || left_percent > (int)IR_COUNT)
    {
      Protocol_Send("ERR IRTEST_ARGS (use IRTEST <1-4>)\r\n");
    }
    else if (motors_enabled != 0U)
    {
      Protocol_Send("ERR IRTEST_MOTORS_RUNNING\r\n");
    }
    else
    {
      IR_SetEmitter((uint8_t)(left_percent - 1), 1U);
      HAL_Delay(2000U);
      IR_SetEmitter((uint8_t)(left_percent - 1), 0U);
      Protocol_Send("ACK IRTEST\r\n");
    }
  }
  else if (strcmp(line, "IRK") == 0)
  {
    /* Print the calibration constants so they can be copied into ir.c. */
    char ir_text[96];
    int n = snprintf(ir_text, sizeof(ir_text), "IRK %lu %lu %lu %lu\r\n",
                     (unsigned long)IR_GetCalK(0), (unsigned long)IR_GetCalK(1),
                     (unsigned long)IR_GetCalK(2), (unsigned long)IR_GetCalK(3));
    if (n > 0 && n < (int)sizeof(ir_text)) Protocol_Send(ir_text);
  }
  else if (strcmp(line, "HELLO") == 0 || strcmp(line, "?") == 0)
  {
    Protocol_Send("HELLO MICROMOUSE_HUB 2 MAX_PWM=71.0\r\n");
  }
  else
  {
    Protocol_Send("ERR UNKNOWN_COMMAND\r\n");
  }
}

static void Protocol_SendTelemetry(void)
{
  char output[256];
  uint8_t flags = sensor_flags;
  if (HAL_GPIO_ReadPin(BT_STATE_GPIO_Port, BT_STATE_Pin) == GPIO_PIN_SET) flags |= FLAG_BT_CONNECTED;
  if (motors_enabled != 0U) flags |= FLAG_MOTORS_ACTIVE;
  int n = snprintf(output, sizeof(output),
    "T,%lu,%d,%d,%ld,%ld,%ld,%ld,%ld,%ld,%ld,%ld,%ld,%ld,%ld,%u,%u,%u,%u,%u,%u,%u,%u\r\n",
    (unsigned long)HAL_GetTick(), commanded_left_tenths, commanded_right_tenths,
    (long)Motor_GetState(MOTOR_LEFT)->total_ticks, (long)Motor_GetState(MOTOR_RIGHT)->total_ticks,
    (long)((sensor_flags & FLAG_IMU) ? imu_values[0] : SENSOR_MISSING),
    (long)((sensor_flags & FLAG_IMU) ? imu_values[1] : SENSOR_MISSING),
    (long)((sensor_flags & FLAG_IMU) ? imu_values[2] : SENSOR_MISSING),
    (long)((sensor_flags & FLAG_IMU) ? imu_values[3] : SENSOR_MISSING),
    (long)((sensor_flags & FLAG_IMU) ? imu_values[4] : SENSOR_MISSING),
    (long)((sensor_flags & FLAG_IMU) ? imu_values[5] : SENSOR_MISSING),
    (long)((sensor_flags & FLAG_MAG) ? mag_values[0] : SENSOR_MISSING),
    (long)((sensor_flags & FLAG_MAG) ? mag_values[1] : SENSOR_MISSING),
    (long)((sensor_flags & FLAG_MAG) ? mag_values[2] : SENSOR_MISSING),
    (unsigned)ir_values[0], (unsigned)ir_values[1],
    (unsigned)ir_values[2], (unsigned)ir_values[3],
    (unsigned)tof_values[0], (unsigned)tof_values[1],
    (unsigned)tof_values[2], (unsigned)flags);
  if (n > 0 && n < (int)sizeof(output)) Protocol_Send(output);
}

/* USER CODE END 0 */

int main(void)
{

  /* USER CODE BEGIN 1 */
  uint8_t received_byte = 0U;
  char command_line[64] = {0};
  uint8_t command_length = 0U;
  uint32_t command_generation = 0U;
  uint32_t observed_stop_flush = 0U;
  uint32_t last_telemetry_tick = 0U;
  /* USER CODE END 1 */

  /* MPU Configuration--------------------------------------------------------*/
  MPU_Config();

  /* MCU Configuration--------------------------------------------------------*/

  /* Reset of all peripherals, Initializes the Flash interface and the Systick. */
  HAL_Init();

  /* Configure the system clock */
  SystemClock_Config();

  /* Initialize all configured peripherals */
  MX_GPIO_Init();
  MX_ADC1_Init();
  MX_TIM1_Init();
  MX_TIM3_Init();
  MX_TIM4_Init();
  MX_ADC2_Init();
  MX_SPI2_Init();
  MX_USART1_UART_Init();
  /* USER CODE BEGIN 2 */
  /* motor.c: start PWM + encoders, then keep both drivers asleep until a
   * drive command arrives. */
  Motor_Init();
  Motors_Stop();

  HAL_NVIC_SetPriority(USART1_IRQn, 5U, 0U);
  HAL_NVIC_EnableIRQ(USART1_IRQn);
  if (HAL_UART_Receive_IT(&huart1, &uart_rx_byte, 1U) != HAL_OK)
  {
    Error_Handler();
  }
  SensorHardware_Init();

  /* Gyro zero-offset: the mouse must sit still for ~0.5 s after power-up. */
  Protocol_Send("INFO CALIBRATING_GYRO keep the mouse still\r\n");
  Kalman_Init(&yaw_kf, IMU_CalibrateGyroBias(500U));
  Control_Init();
  Protocol_Send("HELLO MICROMOUSE_HUB 2 MAX_PWM=71.0\r\n");
  /* USER CODE END 2 */

  /* Infinite loop */
  while (1)
  {

    /* USER CODE BEGIN 3 */
    Control_Tick();

    /* RX interrupts keep collecting bytes even during the 9600-baud telemetry TX. */
    while (UART_PopByte(&received_byte) != 0U)
    {
      uint32_t current_flush = uart_stop_flush_generation;
      if (observed_stop_flush != current_flush)
      {
        command_length = 0U;
        observed_stop_flush = current_flush;
        continue; /* This byte may have been popped just before the ISR flush. */
      }
      if (received_byte == '\n' || received_byte == '\r')
      {
        if (command_length > 0U)
        {
          command_line[command_length] = '\0';
          Protocol_HandleLine(command_line, command_generation);
          command_length = 0U;
        }
      }
      else if (command_length < sizeof(command_line) - 1U)
      {
        if (command_length == 0U) command_generation = emergency_stop_generation;
        command_line[command_length++] = (char)received_byte;
      }
      else
      {
        command_length = 0U;
        Protocol_Send("ERR COMMAND_TOO_LONG\r\n");
      }
    }

    if (motor_timeout_event_pending != 0U)
    {
      motor_timeout_event_pending = 0U;
      Protocol_Send("EVENT MOTOR_TIMEOUT\r\n");
    }

    if (turn_done_event_pending != 0U)
    {
      turn_done_event_pending = 0U;
      Protocol_Send("EVENT TURN_DONE\r\n");
    }

#if MOTOR_STALL_PROTECTION
    if (stall_event_pending != 0U)
    {
      stall_event_pending = 0U;
      Protocol_Send("EVENT MOTOR_STALL\r\n");
    }
#endif

    if (emergency_stop_ack_pending != 0U)
    {
      emergency_stop_ack_pending = 0U;
      Protocol_Send("ACK STOP\r\n");
    }

    if (HAL_GetTick() - last_telemetry_tick >= telemetry_period_ms)
    {
      last_telemetry_tick = HAL_GetTick();
      Sensors_Update();
      Protocol_SendTelemetry();
    }
  }
  /* USER CODE END 3 */
}

void SystemClock_Config(void)
{
  RCC_OscInitTypeDef RCC_OscInitStruct = {0};
  RCC_ClkInitTypeDef RCC_ClkInitStruct = {0};

  /** Configure LSE Drive Capability
  */
  HAL_PWR_EnableBkUpAccess();

  /** Configure the main internal regulator output voltage
  */
  __HAL_RCC_PWR_CLK_ENABLE();
  __HAL_PWR_VOLTAGESCALING_CONFIG(PWR_REGULATOR_VOLTAGE_SCALE3);

  /** Initializes the RCC Oscillators according to the specified parameters
  * in the RCC_OscInitTypeDef structure.
  */
  RCC_OscInitStruct.OscillatorType = RCC_OSCILLATORTYPE_HSE;
  RCC_OscInitStruct.HSEState = RCC_HSE_ON;
  RCC_OscInitStruct.PLL.PLLState = RCC_PLL_NONE;
  if (HAL_RCC_OscConfig(&RCC_OscInitStruct) != HAL_OK)
  {
    Error_Handler();
  }

  /** Initializes the CPU, AHB and APB buses clocks
  */
  RCC_ClkInitStruct.ClockType = RCC_CLOCKTYPE_HCLK|RCC_CLOCKTYPE_SYSCLK
                              |RCC_CLOCKTYPE_PCLK1|RCC_CLOCKTYPE_PCLK2;
  RCC_ClkInitStruct.SYSCLKSource = RCC_SYSCLKSOURCE_HSE;
  RCC_ClkInitStruct.AHBCLKDivider = RCC_SYSCLK_DIV1;
  RCC_ClkInitStruct.APB1CLKDivider = RCC_HCLK_DIV1;
  RCC_ClkInitStruct.APB2CLKDivider = RCC_HCLK_DIV1;

  if (HAL_RCC_ClockConfig(&RCC_ClkInitStruct, FLASH_LATENCY_0) != HAL_OK)
  {
    Error_Handler();
  }
}

static void MX_ADC1_Init(void)
{

  ADC_ChannelConfTypeDef sConfig = {0};

  /** Configure the global features of the ADC (Clock, Resolution, Data Alignment and number of conversion)
  */
  hadc1.Instance = ADC1;
  hadc1.Init.ClockPrescaler = ADC_CLOCK_SYNC_PCLK_DIV2;
  hadc1.Init.Resolution = ADC_RESOLUTION_12B;
  hadc1.Init.ScanConvMode = ADC_SCAN_DISABLE;
  hadc1.Init.ContinuousConvMode = DISABLE;
  hadc1.Init.DiscontinuousConvMode = DISABLE;
  hadc1.Init.ExternalTrigConvEdge = ADC_EXTERNALTRIGCONVEDGE_NONE;
  hadc1.Init.ExternalTrigConv = ADC_SOFTWARE_START;
  hadc1.Init.DataAlign = ADC_DATAALIGN_RIGHT;
  hadc1.Init.NbrOfConversion = 1;
  hadc1.Init.DMAContinuousRequests = DISABLE;
  hadc1.Init.EOCSelection = ADC_EOC_SINGLE_CONV;
  if (HAL_ADC_Init(&hadc1) != HAL_OK)
  {
    Error_Handler();
  }

  /** Configure for the selected ADC regular channel its corresponding rank in the sequencer and its sample time.
  */
  sConfig.Channel = ADC_CHANNEL_2;
  sConfig.Rank = ADC_REGULAR_RANK_1;
  sConfig.SamplingTime = ADC_SAMPLETIME_3CYCLES;
  if (HAL_ADC_ConfigChannel(&hadc1, &sConfig) != HAL_OK)
  {
    Error_Handler();
  }

}

static void MX_ADC2_Init(void)
{

  ADC_ChannelConfTypeDef sConfig = {0};

  /** Configure the global features of the ADC (Clock, Resolution, Data Alignment and number of conversion)
  */
  hadc2.Instance = ADC2;
  hadc2.Init.ClockPrescaler = ADC_CLOCK_SYNC_PCLK_DIV2;
  hadc2.Init.Resolution = ADC_RESOLUTION_12B;
  hadc2.Init.ScanConvMode = ADC_SCAN_DISABLE;
  hadc2.Init.ContinuousConvMode = DISABLE;
  hadc2.Init.DiscontinuousConvMode = DISABLE;
  hadc2.Init.ExternalTrigConvEdge = ADC_EXTERNALTRIGCONVEDGE_NONE;
  hadc2.Init.ExternalTrigConv = ADC_SOFTWARE_START;
  hadc2.Init.DataAlign = ADC_DATAALIGN_RIGHT;
  hadc2.Init.NbrOfConversion = 1;
  hadc2.Init.DMAContinuousRequests = DISABLE;
  hadc2.Init.EOCSelection = ADC_EOC_SINGLE_CONV;
  if (HAL_ADC_Init(&hadc2) != HAL_OK)
  {
    Error_Handler();
  }

  /** Configure for the selected ADC regular channel its corresponding rank in the sequencer and its sample time.
  */
  sConfig.Channel = ADC_CHANNEL_3;
  sConfig.Rank = ADC_REGULAR_RANK_1;
  sConfig.SamplingTime = ADC_SAMPLETIME_3CYCLES;
  if (HAL_ADC_ConfigChannel(&hadc2, &sConfig) != HAL_OK)
  {
    Error_Handler();
  }

}

static void MX_SPI2_Init(void)
{

  /* SPI2 parameter configuration*/
  hspi2.Instance = SPI2;
  hspi2.Init.Mode = SPI_MODE_MASTER;
  hspi2.Init.Direction = SPI_DIRECTION_2LINES;
  hspi2.Init.DataSize = SPI_DATASIZE_8BIT;
  hspi2.Init.CLKPolarity = SPI_POLARITY_HIGH;
  hspi2.Init.CLKPhase = SPI_PHASE_2EDGE;
  hspi2.Init.NSS = SPI_NSS_SOFT;
  hspi2.Init.BaudRatePrescaler = SPI_BAUDRATEPRESCALER_2;
  hspi2.Init.FirstBit = SPI_FIRSTBIT_MSB;
  hspi2.Init.TIMode = SPI_TIMODE_DISABLE;
  hspi2.Init.CRCCalculation = SPI_CRCCALCULATION_DISABLE;
  hspi2.Init.CRCPolynomial = 7;
  hspi2.Init.CRCLength = SPI_CRC_LENGTH_DATASIZE;
  hspi2.Init.NSSPMode = SPI_NSS_PULSE_DISABLE;
  if (HAL_SPI_Init(&hspi2) != HAL_OK)
  {
    Error_Handler();
  }

}

static void MX_TIM1_Init(void)
{

  TIM_Encoder_InitTypeDef sConfig = {0};
  TIM_MasterConfigTypeDef sMasterConfig = {0};

  htim1.Instance = TIM1;
  htim1.Init.Prescaler = 0;
  htim1.Init.CounterMode = TIM_COUNTERMODE_UP;
  htim1.Init.Period = 65535;
  htim1.Init.ClockDivision = TIM_CLOCKDIVISION_DIV1;
  htim1.Init.RepetitionCounter = 0;
  htim1.Init.AutoReloadPreload = TIM_AUTORELOAD_PRELOAD_DISABLE;
  sConfig.EncoderMode = TIM_ENCODERMODE_TI12;
  sConfig.IC1Polarity = TIM_ICPOLARITY_RISING;
  sConfig.IC1Selection = TIM_ICSELECTION_DIRECTTI;
  sConfig.IC1Prescaler = TIM_ICPSC_DIV1;
  sConfig.IC1Filter = 8;
  sConfig.IC2Polarity = TIM_ICPOLARITY_RISING;
  sConfig.IC2Selection = TIM_ICSELECTION_DIRECTTI;
  sConfig.IC2Prescaler = TIM_ICPSC_DIV1;
  sConfig.IC2Filter = 8;
  if (HAL_TIM_Encoder_Init(&htim1, &sConfig) != HAL_OK)
  {
    Error_Handler();
  }
  sMasterConfig.MasterOutputTrigger = TIM_TRGO_RESET;
  sMasterConfig.MasterOutputTrigger2 = TIM_TRGO2_RESET;
  sMasterConfig.MasterSlaveMode = TIM_MASTERSLAVEMODE_DISABLE;
  if (HAL_TIMEx_MasterConfigSynchronization(&htim1, &sMasterConfig) != HAL_OK)
  {
    Error_Handler();
  }

}

static void MX_TIM3_Init(void)
{

  TIM_Encoder_InitTypeDef sConfig = {0};
  TIM_MasterConfigTypeDef sMasterConfig = {0};

  htim3.Instance = TIM3;
  htim3.Init.Prescaler = 0;
  htim3.Init.CounterMode = TIM_COUNTERMODE_UP;
  htim3.Init.Period = 65535;
  htim3.Init.ClockDivision = TIM_CLOCKDIVISION_DIV1;
  htim3.Init.AutoReloadPreload = TIM_AUTORELOAD_PRELOAD_DISABLE;
  sConfig.EncoderMode = TIM_ENCODERMODE_TI12;
  sConfig.IC1Polarity = TIM_ICPOLARITY_RISING;
  sConfig.IC1Selection = TIM_ICSELECTION_DIRECTTI;
  sConfig.IC1Prescaler = TIM_ICPSC_DIV1;
  sConfig.IC1Filter = 8;
  sConfig.IC2Polarity = TIM_ICPOLARITY_RISING;
  sConfig.IC2Selection = TIM_ICSELECTION_DIRECTTI;
  sConfig.IC2Prescaler = TIM_ICPSC_DIV1;
  sConfig.IC2Filter = 8;
  if (HAL_TIM_Encoder_Init(&htim3, &sConfig) != HAL_OK)
  {
    Error_Handler();
  }
  sMasterConfig.MasterOutputTrigger = TIM_TRGO_RESET;
  sMasterConfig.MasterSlaveMode = TIM_MASTERSLAVEMODE_DISABLE;
  if (HAL_TIMEx_MasterConfigSynchronization(&htim3, &sMasterConfig) != HAL_OK)
  {
    Error_Handler();
  }

}

static void MX_TIM4_Init(void)
{

  TIM_ClockConfigTypeDef sClockSourceConfig = {0};
  TIM_MasterConfigTypeDef sMasterConfig = {0};
  TIM_OC_InitTypeDef sConfigOC = {0};

  htim4.Instance = TIM4;
  htim4.Init.Prescaler = 0;
  htim4.Init.CounterMode = TIM_COUNTERMODE_UP;
  htim4.Init.Period = 399;
  htim4.Init.ClockDivision = TIM_CLOCKDIVISION_DIV1;
  htim4.Init.AutoReloadPreload = TIM_AUTORELOAD_PRELOAD_ENABLE;
  if (HAL_TIM_Base_Init(&htim4) != HAL_OK)
  {
    Error_Handler();
  }
  sClockSourceConfig.ClockSource = TIM_CLOCKSOURCE_INTERNAL;
  if (HAL_TIM_ConfigClockSource(&htim4, &sClockSourceConfig) != HAL_OK)
  {
    Error_Handler();
  }
  if (HAL_TIM_PWM_Init(&htim4) != HAL_OK)
  {
    Error_Handler();
  }
  sMasterConfig.MasterOutputTrigger = TIM_TRGO_RESET;
  sMasterConfig.MasterSlaveMode = TIM_MASTERSLAVEMODE_DISABLE;
  if (HAL_TIMEx_MasterConfigSynchronization(&htim4, &sMasterConfig) != HAL_OK)
  {
    Error_Handler();
  }
  sConfigOC.OCMode = TIM_OCMODE_PWM1;
  sConfigOC.Pulse = 0;
  sConfigOC.OCPolarity = TIM_OCPOLARITY_HIGH;
  sConfigOC.OCFastMode = TIM_OCFAST_DISABLE;
  if (HAL_TIM_PWM_ConfigChannel(&htim4, &sConfigOC, TIM_CHANNEL_1) != HAL_OK)
  {
    Error_Handler();
  }
  if (HAL_TIM_PWM_ConfigChannel(&htim4, &sConfigOC, TIM_CHANNEL_2) != HAL_OK)
  {
    Error_Handler();
  }
  if (HAL_TIM_PWM_ConfigChannel(&htim4, &sConfigOC, TIM_CHANNEL_3) != HAL_OK)
  {
    Error_Handler();
  }
  if (HAL_TIM_PWM_ConfigChannel(&htim4, &sConfigOC, TIM_CHANNEL_4) != HAL_OK)
  {
    Error_Handler();
  }
  HAL_TIM_MspPostInit(&htim4);

}

static void MX_USART1_UART_Init(void)
{

  huart1.Instance = USART1;
  huart1.Init.BaudRate = 9600;
  huart1.Init.WordLength = UART_WORDLENGTH_8B;
  huart1.Init.StopBits = UART_STOPBITS_1;
  huart1.Init.Parity = UART_PARITY_NONE;
  huart1.Init.Mode = UART_MODE_TX_RX;
  huart1.Init.HwFlowCtl = UART_HWCONTROL_NONE;
  huart1.Init.OverSampling = UART_OVERSAMPLING_16;
  huart1.Init.OneBitSampling = UART_ONE_BIT_SAMPLE_DISABLE;
  huart1.AdvancedInit.AdvFeatureInit = UART_ADVFEATURE_NO_INIT;
  if (HAL_UART_Init(&huart1) != HAL_OK)
  {
    Error_Handler();
  }

}

static void MX_GPIO_Init(void)
{
  GPIO_InitTypeDef GPIO_InitStruct = {0};

  /* GPIO Ports Clock Enable */
  __HAL_RCC_GPIOC_CLK_ENABLE();
  __HAL_RCC_GPIOH_CLK_ENABLE();
  __HAL_RCC_GPIOA_CLK_ENABLE();
  __HAL_RCC_GPIOB_CLK_ENABLE();
  __HAL_RCC_GPIOE_CLK_ENABLE();
  __HAL_RCC_GPIOD_CLK_ENABLE();

  /*Configure GPIO pin Output Level */
  HAL_GPIO_WritePin(GPIOB, GPIO_PIN_0, GPIO_PIN_RESET);

  /* HC-05 module enable is active high on the installed breakout. */
  HAL_GPIO_WritePin(BT_EN_GPIO_Port, BT_EN_Pin, GPIO_PIN_SET);

  /*Configure GPIO pin Output Level */
  HAL_GPIO_WritePin(GPIOE, NSLEEP_HB_1_Pin|NSLEEP_HB_2_Pin, GPIO_PIN_RESET);

  /* Keep the SPI device deselected until a transaction begins. */
  HAL_GPIO_WritePin(IMU_CS_GPIO_Port, IMU_CS_Pin, GPIO_PIN_SET);

  /*Configure GPIO pin : PB0 */
  GPIO_InitStruct.Pin = GPIO_PIN_0;
  GPIO_InitStruct.Mode = GPIO_MODE_OUTPUT_PP;
  GPIO_InitStruct.Pull = GPIO_NOPULL;
  GPIO_InitStruct.Speed = GPIO_SPEED_FREQ_LOW;
  HAL_GPIO_Init(GPIOB, &GPIO_InitStruct);

  /*Configure GPIO pins : NSLEEP_HB_1_Pin NSLEEP_HB_2_Pin */
  GPIO_InitStruct.Pin = NSLEEP_HB_1_Pin|NSLEEP_HB_2_Pin;
  GPIO_InitStruct.Mode = GPIO_MODE_OUTPUT_PP;
  GPIO_InitStruct.Pull = GPIO_NOPULL;
  GPIO_InitStruct.Speed = GPIO_SPEED_FREQ_LOW;
  HAL_GPIO_Init(GPIOE, &GPIO_InitStruct);

  /* HC-05 EN: keep high so the Bluetooth module remains powered/enabled. */
  GPIO_InitStruct.Pin = BT_EN_Pin;
  GPIO_InitStruct.Mode = GPIO_MODE_OUTPUT_PP;
  GPIO_InitStruct.Pull = GPIO_NOPULL;
  GPIO_InitStruct.Speed = GPIO_SPEED_FREQ_LOW;
  HAL_GPIO_Init(BT_EN_GPIO_Port, &GPIO_InitStruct);

  /*Configure GPIO pin : BT_STATE_Pin */
  GPIO_InitStruct.Pin = BT_STATE_Pin;
  GPIO_InitStruct.Mode = GPIO_MODE_INPUT;
  GPIO_InitStruct.Pull = GPIO_NOPULL;
  HAL_GPIO_Init(BT_STATE_GPIO_Port, &GPIO_InitStruct);

  /*Configure GPIO pin : IMU_CS_Pin */
  GPIO_InitStruct.Pin = IMU_CS_Pin;
  GPIO_InitStruct.Mode = GPIO_MODE_OUTPUT_PP;
  GPIO_InitStruct.Pull = GPIO_NOPULL;
  GPIO_InitStruct.Speed = GPIO_SPEED_FREQ_VERY_HIGH;
  HAL_GPIO_Init(IMU_CS_GPIO_Port, &GPIO_InitStruct);

  /*Configure GPIO pins : IMU_INT_1_Pin IMU_INT_2_Pin */
  GPIO_InitStruct.Pin = IMU_INT_1_Pin|IMU_INT_2_Pin;
  GPIO_InitStruct.Mode = GPIO_MODE_IT_RISING;
  GPIO_InitStruct.Pull = GPIO_NOPULL;
  HAL_GPIO_Init(GPIOC, &GPIO_InitStruct);

}

/* USER CODE BEGIN 4 */

void Micromouse_SafetyTick(void)
{
  if (motors_enabled != 0U &&
      motor_stop_tick != 0U && (int32_t)(HAL_GetTick() - motor_stop_tick) >= 0)
  {
    emergency_stop_generation++;
    Motors_Stop();
    motor_timeout_event_pending = 1U;
  }
}

void HAL_UART_RxCpltCallback(UART_HandleTypeDef *huart)
{
  if (huart->Instance == USART1)
  {
    static const uint8_t stop_text[4] = {'S', 'T', 'O', 'P'};
    if (uart_rx_byte == '\r' || uart_rx_byte == '\n')
    {
      if (uart_stop_candidate != 0U && uart_stop_index == sizeof(stop_text))
      {
        emergency_stop_generation++;
        Motors_Stop();
        uart_rx_tail = uart_rx_head; /* Discard every command received before STOP. */
        uart_stop_flush_generation++;
        emergency_stop_ack_pending = 1U;
      }
      uart_stop_candidate = 1U;
      uart_stop_index = 0U;
    }
    else if (uart_stop_candidate != 0U)
    {
      if (uart_stop_index < sizeof(stop_text) && uart_rx_byte == stop_text[uart_stop_index])
      {
        uart_stop_index++;
      }
      else
      {
        uart_stop_candidate = 0U;
      }
    }

    uint8_t next = (uint8_t)((uart_rx_head + 1U) & 0x7FU);
    if (next != uart_rx_tail)
    {
      uart_rx_ring[uart_rx_head] = uart_rx_byte;
      uart_rx_head = next;
    }
    HAL_UART_Receive_IT(&huart1, &uart_rx_byte, 1U);
  }
}

void HAL_UART_TxCpltCallback(UART_HandleTypeDef *huart)
{
  if (huart->Instance == USART1)
  {
    if (uart_tx_tail != uart_tx_head)
    {
      uart_tx_byte = uart_tx_ring[uart_tx_tail];
      uart_tx_tail = (uint16_t)((uart_tx_tail + 1U) & 0x01FFU);
      if (HAL_UART_Transmit_IT(&huart1, &uart_tx_byte, 1U) != HAL_OK)
      {
        uart_tx_busy = 0U;
      }
    }
    else
    {
      uart_tx_busy = 0U;
    }
  }
}

void HAL_UART_ErrorCallback(UART_HandleTypeDef *huart)
{
  if (huart->Instance == USART1)
  {
    HAL_UART_Receive_IT(&huart1, &uart_rx_byte, 1U);
  }
}

/* USER CODE END 4 */

 /* MPU Configuration */

void MPU_Config(void)
{
  MPU_Region_InitTypeDef MPU_InitStruct = {0};

  /* Disables the MPU */
  HAL_MPU_Disable();

  /** Initializes and configures the Region and the memory to be protected
  */
  MPU_InitStruct.Enable = MPU_REGION_ENABLE;
  MPU_InitStruct.Number = MPU_REGION_NUMBER0;
  MPU_InitStruct.BaseAddress = 0x0;
  MPU_InitStruct.Size = MPU_REGION_SIZE_4GB;
  MPU_InitStruct.SubRegionDisable = 0x87;
  MPU_InitStruct.TypeExtField = MPU_TEX_LEVEL0;
  MPU_InitStruct.AccessPermission = MPU_REGION_NO_ACCESS;
  MPU_InitStruct.DisableExec = MPU_INSTRUCTION_ACCESS_DISABLE;
  MPU_InitStruct.IsShareable = MPU_ACCESS_SHAREABLE;
  MPU_InitStruct.IsCacheable = MPU_ACCESS_NOT_CACHEABLE;
  MPU_InitStruct.IsBufferable = MPU_ACCESS_NOT_BUFFERABLE;

  HAL_MPU_ConfigRegion(&MPU_InitStruct);
  /* Enables the MPU */
  HAL_MPU_Enable(MPU_PRIVILEGED_DEFAULT);

}

void Error_Handler(void)
{
  __disable_irq();
  while (1)
  {
  }
}
